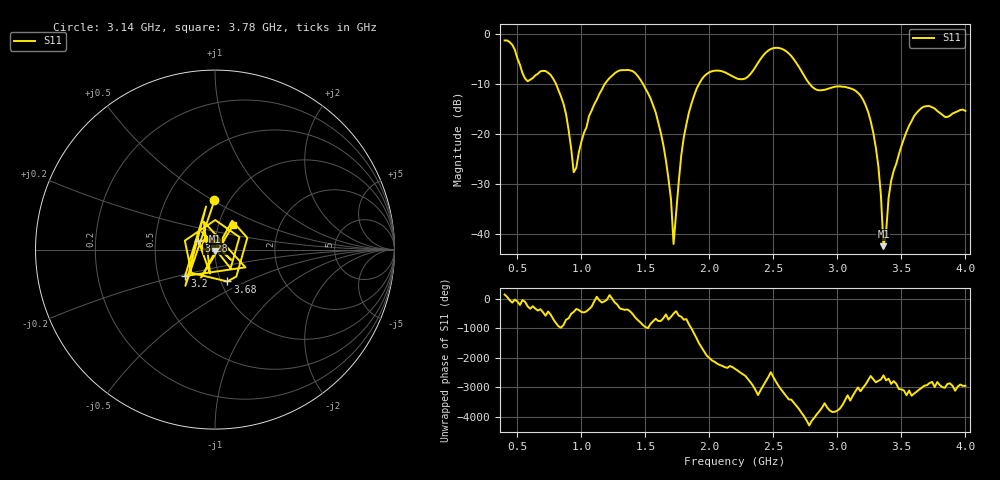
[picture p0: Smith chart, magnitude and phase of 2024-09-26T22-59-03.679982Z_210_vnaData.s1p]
!Created with skrf (http://scikit-rf.org).
# Hz S RI R 50.0
!freq ReS11 ImS11
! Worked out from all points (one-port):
!   181 points, 400 MHz to 4 GHz, reference 50 ohm
!   lowest |S11| = -42.4 dB at 3.36 GHz (marker M1), VSWR 1.02, Z = 50.1 - j0.747 ohm
!   |S11| at or under -10 dB: 802.8 MHz to 1.18 GHz (377.5 MHz wide, 38.1 % of centre); 1.483 GHz to 1.917 GHz (434.4 MHz wide, 25.6 % of centre); 2.786 GHz to end of sweep
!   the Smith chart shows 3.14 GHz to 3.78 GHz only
!   S11 on the Smith chart (normalised r, x): 3.14 GHz: 0.86, +0.51; 3.2 GHz: 0.69, -0.21; 3.28 GHz: 0.83, +0.08; 3.68 GHz: 1.07, -0.39; 3.78 GHz: 1.18, +0.33
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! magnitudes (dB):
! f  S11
! 400 MHz  -1.2
! 560 MHz  -8.8
! 720 MHz  -7.3
! 860 MHz  -13.9
! 940 MHz  -27.6
! 1.1 GHz  -14.0
! 1.3 GHz  -7.2
! 1.58 GHz  -15.6
! 1.68 GHz  -28.9
! 1.72 GHz  -42.0
! 1.76 GHz  -29.6
! 1.82 GHz  -18.0
! 1.92 GHz  -9.9
! 2.2 GHz  -8.6
! 2.5 GHz  -2.7
! 2.66 GHz  -5.0
! 2.84 GHz  -11.1
! 3.1 GHz  -10.8
! 3.14 GHz  -11.2
! 3.2 GHz  -13.1
! 3.28 GHz  -19.6
! 3.32 GHz  -26.4
! 3.36 GHz  -42.4
! 3.42 GHz  -29.3
! 3.56 GHz  -18.3
! 3.68 GHz  -14.4
! 3.78 GHz  -15.3
! 4 GHz  -15.3
